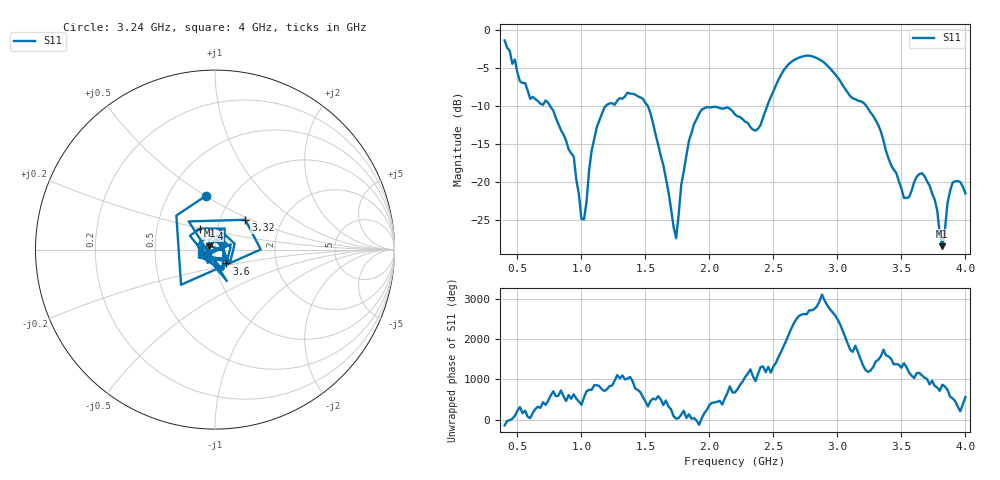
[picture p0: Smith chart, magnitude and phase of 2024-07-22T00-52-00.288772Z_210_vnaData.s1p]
!Created with skrf (http://scikit-rf.org).
# Hz S RI R 50.0
!freq ReS11 ImS11
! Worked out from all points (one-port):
!   181 points, 400 MHz to 4 GHz, reference 50 ohm
!   lowest |S11| = -28.4 dB at 3.82 GHz (marker M1), VSWR 1.08, Z = 46.9 + j2.02 ohm
!   |S11| at or under -10 dB: 756.3 MHz to 1.189 GHz (433.1 MHz wide, 44.5 % of centre); 1.52 GHz to 2.451 GHz (930.9 MHz wide, 46.9 % of centre); 3.227 GHz to end of sweep
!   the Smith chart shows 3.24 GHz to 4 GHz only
!   S11 on the Smith chart (normalised r, x): 3.24 GHz: 0.76, +0.50; 3.32 GHz: 1.31, +0.46; 3.4 GHz: 0.83, +0.20; 3.6 GHz: 1.12, -0.17; 4 GHz: 0.85, -0.04
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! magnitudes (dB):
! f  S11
! 400 MHz  -1.3
! 600 MHz  -9.0
! 740 MHz  -9.5
! 860 MHz  -13.7
! 940 MHz  -16.6
! 1 GHz  -24.8
! 1.02 GHz  -24.9
! 1.12 GHz  -12.8
! 1.3 GHz  -8.9
! 1.52 GHz  -10.0
! 1.74 GHz  -27.4
! 1.76 GHz  -24.3
! 1.84 GHz  -14.6
! 1.92 GHz  -11.0
! 2.2 GHz  -11.1
! 2.38 GHz  -13.0
! 2.66 GHz  -3.9
! 2.88 GHz  -4.0
! 3.1 GHz  -8.7
! 3.24 GHz  -10.3
! 3.32 GHz  -12.5
! 3.4 GHz  -16.9
! 3.56 GHz  -22.0
! 3.6 GHz  -20.0
! 3.72 GHz  -20.5
! 3.82 GHz  -28.4
! 3.9 GHz  -20.1
! 4 GHz  -21.5
